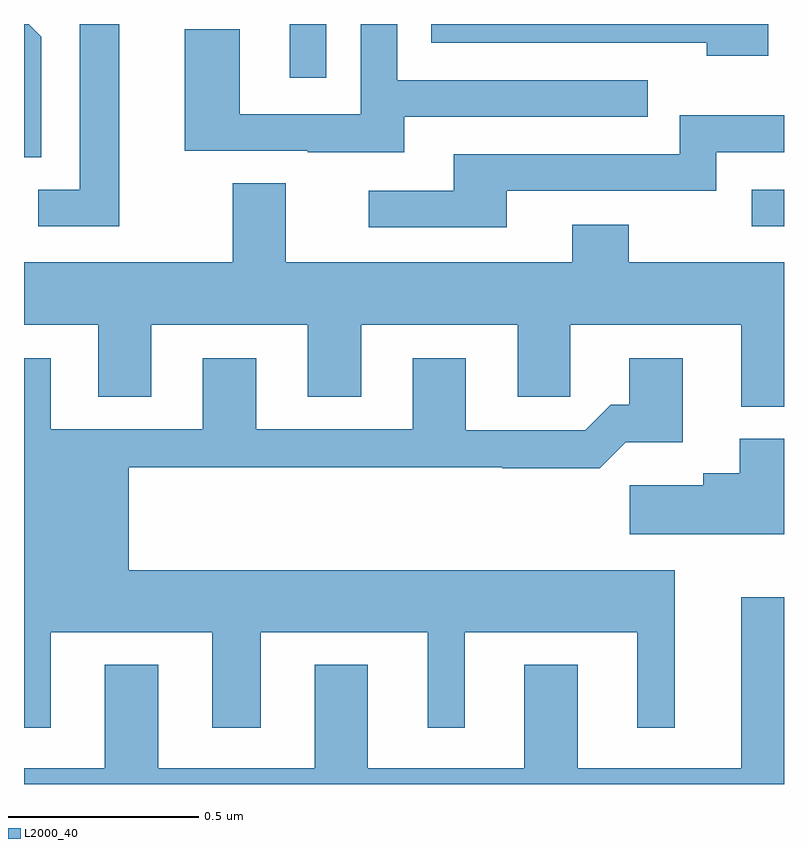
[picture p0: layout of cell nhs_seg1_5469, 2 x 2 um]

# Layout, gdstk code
import gdstk
lib = gdstk.Library(unit=1e-6, precision=1e-09)
def R(c, l, rs):  # rectangles x0, y0, x1, y1
    for r in rs: c.add(gdstk.rectangle(r[:2], r[2:], *l))
def P(c, l, *ps):  # polygons
    for p in ps: c.add(gdstk.Polygon(p, *l))
L2000_40 = (2000, 40)

nhs_seg1_5469 = lib.new_cell('nhs_seg1_5469')
R(nhs_seg1_5469, L2000_40, [(180.915,542.667,181,542.763), (179.699,543.057,179.796,543.199)])
P(nhs_seg1_5469, L2000_40, [(180.001,542.955),(180.641,542.955),(180.641,543.051),(179.982,543.051),(179.982,543.199),(179.886,543.199),(179.886,542.961),(179.568,542.961),(179.568,543.185),(179.423,543.185),(179.423,542.865),(179.747,542.865),(179.747,542.861),(180.001,542.861)],
  [(179.251,543.199),(179.147,543.199),(179.147,542.763),(179.037,542.763),(179.037,542.667),(179.251,542.667)],
  [(180.958,543.199),(180.072,543.199),(180.072,543.15),(180.797,543.15),(180.797,543.116),(180.958,543.116)],
  [(179.046,543.166),(179.013,543.199),(179,543.199),(179,542.848),(179.046,542.848)],
  [(180.271,542.76),(180.822,542.76),(180.822,542.862),(181,542.862),(181,542.959),(180.726,542.959),(180.726,542.856),(180.131,542.856),(180.131,542.76),(179.907,542.76),(179.907,542.664),(180.271,542.664)],
  [(181,542.572),(180.591,542.572),(180.591,542.671),(180.443,542.671),(180.443,542.572),(179.689,542.572),(179.689,542.78),(179.549,542.78),(179.549,542.572),(179,542.572),(179,542.408),(179.195,542.408),(179.195,542.218),(179.335,542.218),(179.335,542.408),(179.747,542.408),(179.747,542.218),(179.887,542.218),(179.887,542.408),(180.299,542.408),(180.299,542.218),(180.438,542.218),(180.438,542.408),(180.887,542.408),(180.887,542.192),(181,542.192)],
  [(179.071,541.598),(179.495,541.598),(179.495,541.347),(179.623,541.347),(179.623,541.598),(180.062,541.598),(180.062,541.347),(180.16,541.347),(180.16,541.598),(180.614,541.598),(180.614,541.347),(180.712,541.347),(180.712,541.762),(179.275,541.762),(179.275,542.032),(180.259,542.032),(180.259,542.03),(180.515,542.03),(180.584,542.099),(180.733,542.099),(180.733,542.32),(180.593,542.32),(180.593,542.197),(180.544,542.197),(180.477,542.13),(180.163,542.13),(180.163,542.32),(180.023,542.32),(180.023,542.133),(179.611,542.133),(179.611,542.32),(179.471,542.32),(179.471,542.133),(179.071,542.133),(179.071,542.32),(179,542.32),(179,541.347),(179.071,541.347)],
  [(181,542.107),(180.884,542.107),(180.884,542.017),(180.788,542.017),(180.788,541.985),(180.594,541.985),(180.594,541.856),(181,541.856)],
  [(181,541.69),(180.887,541.69),(180.887,541.24),(180.457,541.24),(180.457,541.513),(180.317,541.513),(180.317,541.24),(179.905,541.24),(179.905,541.513),(179.765,541.513),(179.765,541.24),(179.353,541.24),(179.353,541.513),(179.213,541.513),(179.213,541.24),(179,541.24),(179,541.199),(181,541.199)])

lib.write_gds('nhs_seg1_5469.gds')
